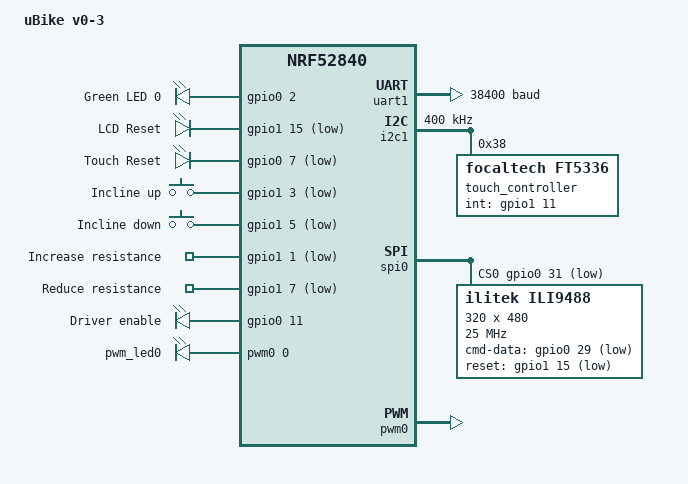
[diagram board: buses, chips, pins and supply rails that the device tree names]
/*
 * Universal Bike Controller
 * Copyright (C) 2022-2023, Greco Engineering Solutions LLC
 *
 * This program is free software: you can redistribute it and/or modify
 * it under the terms of the GNU General Public License as published by
 * the Free Software Foundation, either version 3 of the License, or
 * (at your option) any later version.
 *
 * This program is distributed in the hope that it will be useful,
 * but WITHOUT ANY WARRANTY; without even the implied warranty of
 * MERCHANTABILITY or FITNESS FOR A PARTICULAR PURPOSE.  See the
 * GNU General Public License for more details.
 *
 * You should have received a copy of the GNU General Public License
 * along with this program.  If not, see <http://www.gnu.org/licenses/>.
 */

/dts-v1/;
#include <nordic/nrf52840_qiaa.dtsi>
#include <zephyr/dt-bindings/display/ili9xxx.h>
#include "ubike_v03-pinctrl.dtsi"

/ {
	model = "uBike v0-3";
	compatible = "ubike,ubike-v03";

	 chosen {
		 zephyr,console = &uart0;
		 zephyr,shell-uart = &uart0;
		 zephyr,uart-mcumgr = &uart0;
		 zephyr,bt-mon-uart = &uart0;
		 zephyr,bt-c2h-uart = &uart0;
		 zephyr,sram = &sram0;
		 zephyr,flash = &flash0;
		 zephyr,display = &ili9488;
		 zephyr,keyboard-scan = &touch_controller;
	 };

	 leds {
		 compatible = "gpio-leds";
		 led0: led_0 {
			 gpios = <&gpio0 2 GPIO_ACTIVE_HIGH>; // UNUSED
			 label = "Green LED 0";
		 };
		 lcdrst: lcd_rst { // RESET
			 gpios = <&gpio1 15 GPIO_ACTIVE_LOW>;
			 label = "LCD Reset";
		 };
		 cptrst: cpt_rst { // YU
			 gpios = <&gpio0 7 GPIO_ACTIVE_LOW>;
			 label = "Touch Reset";
		 };
	 };

	 buttons {
		compatible = "gpio-keys";
		addInc: add_inc { // IN 4
			gpios = <&gpio1 3 (GPIO_PULL_UP | GPIO_ACTIVE_LOW)>;
			label = "Incline up";
		};
		subInc: sub_inc { // IN 1
			gpios = <&gpio1 5 (GPIO_PULL_UP | GPIO_ACTIVE_LOW)>;
			label = "Incline down";
		};
		addRes: add_res { // IN 3
			gpios = <&gpio1 1 (GPIO_PULL_UP | GPIO_ACTIVE_LOW)>;
			label = "Increase resistance";
		};
		subRes: sub_res { // IN 2
			gpios = <&gpio1 7 (GPIO_PULL_UP | GPIO_ACTIVE_LOW)>;
			label = "Reduce resistance";
		};
	};

	rs485 {
		compatible = "gpio-leds";
		rs485de: rs485_de {
			gpios = <&gpio0 11 GPIO_ACTIVE_HIGH>;
			label = "Driver enable";
		};
	};

	pwmleds {
		compatible = "pwm-leds";
		pwm_led0: pwm_led_0 {
			pwms = <&pwm0 0 PWM_MSEC(20) PWM_POLARITY_INVERTED>;
		};
	};

	aliases {
		rs485de = &rs485de;
		lcdrst = &lcdrst;
		cptrst = &cptrst;
		blpwm = &pwm_led0;
		addinc = &addInc;
		subinc = &subInc;
		addres = &addRes;
		subres = &subRes;
		led0 = &led0;
		bootloader-led0 = &led0;
		mcuboot-led0 = &led0;
		watchdog0 = &wdt0;
	};
};

&gpio0 {
	status = "okay";
};

&gpio1 {
	status = "okay";
};

&uart0 {
	status = "disabled";
};

&uart1 {
	compatible = "nordic,nrf-uarte";
	current-speed = <38400>;
	status = "okay";
	pinctrl-0 = <&uart1_default>;
	pinctrl-1 = <&uart1_sleep>;
	pinctrl-names = "default", "sleep";
};

&i2c1 {
	compatible = "nordic,nrf-twim";
	status = "okay";
	clock-frequency = <I2C_BITRATE_FAST>;
	pinctrl-0 = <&i2c1_default>;
	pinctrl-1 = <&i2c1_sleep>;
	pinctrl-names = "default", "sleep";

	touch_controller: ft5336@38 {
		compatible = "focaltech,ft5336";
		reg = <0x38>;
		int-gpios = <&gpio1 11 GPIO_ACTIVE_HIGH>; // YD
	};
};

&spi0 {
	status = "okay";
	compatible = "nordic,nrf-spim";
	cs-gpios = <&gpio0 31 GPIO_ACTIVE_LOW>; // CS
	pinctrl-0 = <&spi0_default>;
	pinctrl-1 = <&spi0_sleep>;
	pinctrl-names = "default", "sleep";
 
	ili9488: ili9488@0 {
		compatible = "ilitek,ili9488";
		spi-max-frequency = <25000000>;
		reg = <0>;
		cmd-data-gpios =  <&gpio0 29 GPIO_ACTIVE_LOW>; // RS
		reset-gpios = <&gpio1 15 GPIO_ACTIVE_LOW>; // RESET
		pixel-format = <ILI9XXX_PIXEL_FORMAT_RGB888>;
		width = <320>;
		height = <480>;
		rotation = <180>;
		frmctr1 = [a0 11];
		pwctrl1 = [17 15];
		pwctrl2 = [41];
		pgamctrl = [00 03 09 08 16 0a 3f 78 4c 09 0a 08 16 1a 0f];
		ngamctrl = [00 16 19 03 0f 05 32 45 46 04 0e 0d 35 37 0f];
	};
};

&pwm0 {
	status = "okay";
	pinctrl-0 = <&pwm0_default>;
	pinctrl-1 = <&pwm0_sleep>;
	pinctrl-names = "default", "sleep";
};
